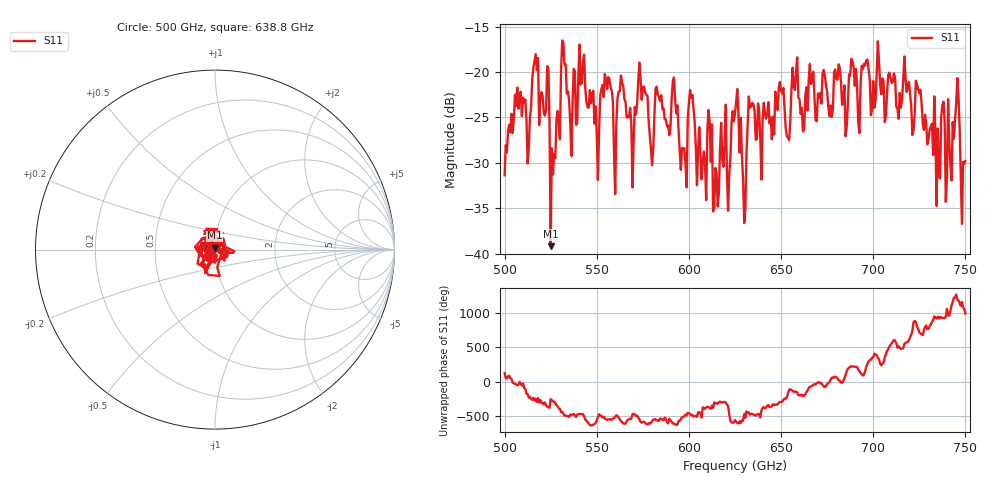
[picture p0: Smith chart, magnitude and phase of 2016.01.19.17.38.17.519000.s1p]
!Created with skrf (http://scikit-rf.org).
# GHz S RI R 50.0
!freq ReS11 ImS11
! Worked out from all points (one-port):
!   401 points, 500 GHz to 750 GHz, reference 50 ohm
!   lowest |S11| = -39.2 dB at 525 GHz (marker M1), VSWR 1.02, Z = 49.7 + j1.06 ohm
!   |S11| at or under -10 dB: start of sweep to end of sweep
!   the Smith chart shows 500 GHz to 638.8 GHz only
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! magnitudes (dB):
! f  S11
! 500 GHz  -31.4
! 506.9 GHz  -21.7
! 513.1 GHz  -28.4
! 516.9 GHz  -18.0
! 525 GHz  -39.2
! 531.2 GHz  -16.5
! 535.6 GHz  -25.6
! 541.9 GHz  -21.2
! 550 GHz  -26.9
! 562.5 GHz  -22.1
! 568.8 GHz  -25.7
! 573.8 GHz  -20.7
! 579.4 GHz  -28.4
! 593.8 GHz  -23.7
! 597.5 GHz  -28.4
! 601.2 GHz  -22.8
! 608.1 GHz  -28.8
! 611.2 GHz  -25.5
! 614.4 GHz  -30.6
! 625 GHz  -24.5
! 630 GHz  -36.6
! 633.8 GHz  -23.8
! 656.2 GHz  -19.5
! 687.5 GHz  -20.4
! 718.8 GHz  -21.6
! 735 GHz  -26.2
! 745.6 GHz  -20.7
! 750 GHz  -29.8
